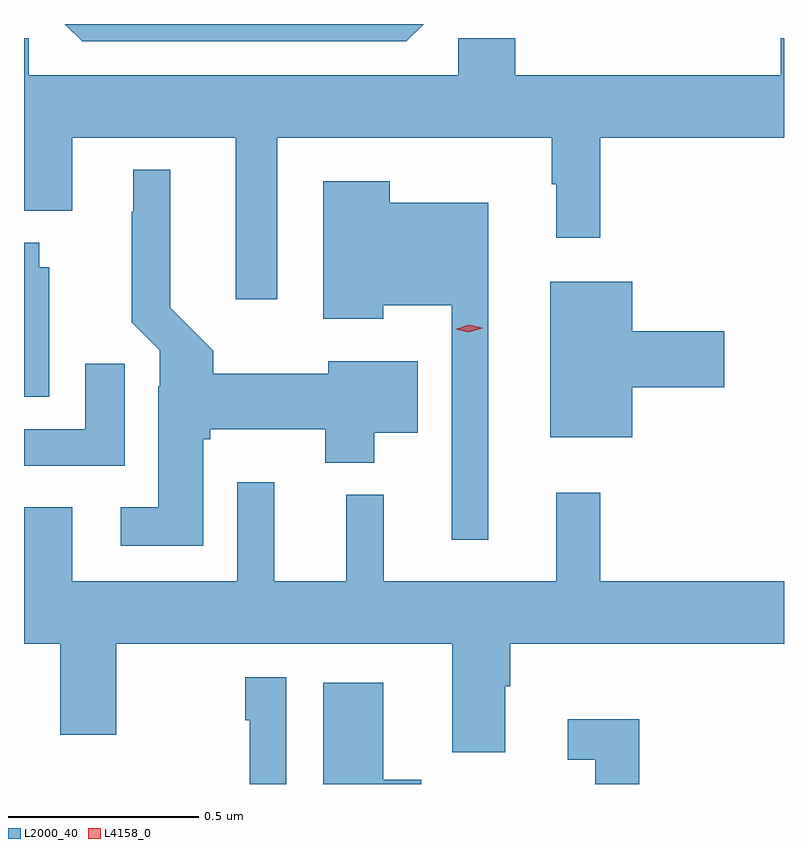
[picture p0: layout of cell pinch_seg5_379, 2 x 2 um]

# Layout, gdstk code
import gdstk
lib = gdstk.Library(unit=1e-6, precision=1e-09)
def P(c, l, *ps):  # polygons
    for p in ps: c.add(gdstk.Polygon(p, *l))
L2000_40 = (2000, 40)
L4158_0 = (4158, 0)

pinch_seg5_379 = lib.new_cell('pinch_seg5_379')
P(pinch_seg5_379, L2000_40, [(990.116,882.367),(989.171,882.367),(989.217,882.321),(990.07,882.321)],
  [(989.731,882.068),(990.453,882.068),(990.453,881.945),(990.464,881.945),(990.464,881.805),(990.581,881.805),(990.581,882.068),(991.064,882.068),(991.064,882.33),(991.055,882.33),(991.055,882.232),(990.357,882.232),(990.357,882.33),(990.207,882.33),(990.207,882.232),(989.076,882.232),(989.076,882.33),(989.064,882.33),(989.064,881.876),(989.191,881.876),(989.191,882.068),(989.621,882.068),(989.621,881.643),(989.731,881.643)],
  [(989.536,881.274),(989.554,881.274),(989.554,881.3),(989.857,881.3),(989.857,881.213),(989.986,881.213),(989.986,881.291),(990.1,881.291),(990.1,881.479),(989.864,881.479),(989.864,881.446),(989.562,881.446),(989.562,881.507),(989.449,881.62),(989.449,881.983),(989.351,881.983),(989.351,881.873),(989.347,881.873),(989.347,881.582),(989.421,881.508),(989.421,881.414),(989.417,881.414),(989.417,881.095),(989.319,881.095),(989.319,880.994),(989.536,880.994)],
  [(990.286,881.896),(990.027,881.896),(990.027,881.953),(989.852,881.953),(989.852,881.591),(990.01,881.591),(990.01,881.627),(990.189,881.627),(990.189,881.01),(990.286,881.01)],
  [(989.131,881.727),(989.104,881.727),(989.104,881.791),(989.064,881.791),(989.064,881.386),(989.131,881.386)],
  [(990.664,881.411),(990.907,881.411),(990.907,881.558),(990.664,881.558),(990.664,881.689),(990.449,881.689),(990.449,881.279),(990.664,881.279)],
  [(989.329,881.473),(989.225,881.473),(989.225,881.301),(989.064,881.301),(989.064,881.205),(989.329,881.205)],
  [(990.331,880.624),(990.344,880.624),(990.344,880.736),(991.064,880.736),(991.064,880.9),(990.581,880.9),(990.581,881.134),(990.464,881.134),(990.464,880.9),(990.011,880.9),(990.011,881.128),(989.912,881.128),(989.912,880.9),(989.723,880.9),(989.723,881.161),(989.625,881.161),(989.625,880.9),(989.191,880.9),(989.191,881.095),(989.064,881.095),(989.064,880.736),(989.159,880.736),(989.159,880.497),(989.307,880.497),(989.307,880.736),(990.191,880.736),(990.191,880.45),(990.331,880.45)],
  [(989.754,880.648),(989.646,880.648),(989.646,880.535),(989.658,880.535),(989.658,880.367),(989.754,880.367)],
  [(990.11,880.378),(990.01,880.378),(990.01,880.633),(989.852,880.633),(989.852,880.367),(990.11,880.367)],
  [(990.683,880.537),(990.495,880.537),(990.495,880.431),(990.567,880.431),(990.567,880.367),(990.683,880.367)])
P(pinch_seg5_379, L4158_0, [(990.235,881.556),(990.2,881.564),(990.199,881.564),(990.2,881.564),(990.234,881.576),(990.27,881.568),(990.27,881.568),(990.27,881.567)])

lib.write_gds('pinch_seg5_379.gds')
